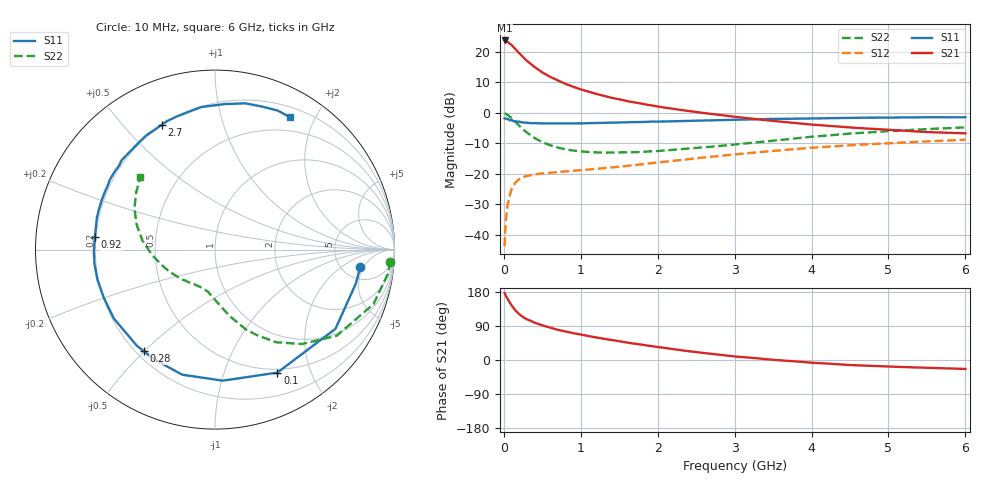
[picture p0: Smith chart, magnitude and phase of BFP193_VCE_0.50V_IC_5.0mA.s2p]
! Infineon Technologies  Discrete & RF Semiconductors
! BFP193
! VCE = 0.50V,  IC =  5.0 mA
! Common Emitter S-Parameters:  Jan 2016
# GHz  S  MA  R  50
!  f  S11  S21  S12  S22
! GHz  MAG  ANG  MAG  ANG  MAG  ANG  MAG  ANG
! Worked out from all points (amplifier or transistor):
!   210 points, 10 MHz to 6 GHz, reference 50 ohm
!   highest |S21| = 23.8 dB at 10 MHz (marker M1)
!   |S21| within 3 dB of that: start of sweep to 156.7 MHz
!   unconditionally stable (mu >= 1): 1.167 GHz to end of sweep
!   at 185 MHz: K = 0.22, MSG = 21.1 dB, |S12| = -22.1 dB
!   at 1.52 GHz: K = 1.12, MAG = 8.8 dB, |S12| = -17.6 dB
!   at 6 GHz: K = 1.02, MAG = 0.1 dB, |S12| = -8.8 dB
!   S11 on the Smith chart (normalised r, x): 10 MHz: 7.23, -4.27; 100 MHz: 0.46, -1.53; 280 MHz: 0.23, -0.50; 920 MHz: 0.20, +0.05; 2.7 GHz: 0.20, +0.64; 6 GHz: 0.32, +1.68
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0.01  0.8146 -7.0  15.47 176.9  0.0065 86.9  0.9792 -3.9
0.02  0.8074 -13.5  15.13 171.7  0.0131 80.7  0.9736 -7.8
0.05  0.8033 -33.3  14.7 160.6  0.0314 73.0  0.9337 -19.0
0.1  0.7684 -63.1  13.08 144.2  0.0557 59.2  0.8304 -35.3
0.15  0.7315 -86.6  11.18 130.6  0.0721 48.8  0.7159 -47.3
0.2  0.7206 -104.7  9.632 120.9  0.0819 41.7  0.6192 -56.5
0.24  0.7 -115.8  8.489 114.9  0.0866 37.3  0.5509 -62.0
0.28  0.691 -124.9  7.579 109.8  0.0906 34.5  0.4991 -66.6
0.3  0.6903 -129.1  7.167 107.3  0.0925 33.4  0.4761 -68.9
0.4  0.6819 -145.8  5.676 98.3  0.098 29.2  0.3877 -76.6
0.5  0.6751 -156.7  4.623 91.2  0.1015 27.1  0.3311 -82.6
0.6  0.676 -165.6  3.919 85.2  0.1042 26.0  0.2944 -87.5
0.7  0.6763 -173.3  3.411 79.7  0.1065 25.7  0.2697 -91.7
0.92  0.6735 174.2  2.634 70.3  0.1131 26.3  0.2393 -99.2
1.02  0.6753 169.1  2.392 66.3  0.1154 26.8  0.2324 -102.5
1.4  0.6922 153.2  1.771 52.8  0.1271 29.2  0.2239 -114.4
2.02  0.7212 132.4  1.262 33.8  0.1549 32.2  0.2377 -132.9
2.7  0.7562 113.1  0.962 16.3  0.191 31.3  0.2784 -153.2
3.1  0.7753 103.7  0.838 7.8  0.2142 29.2  0.3114 -164.8
4.1  0.8153 84.6  0.63 -8.2  0.2732 21.2  0.4156 170.8
5.1  0.8404 70.5  0.52 -18.1  0.323 11.0  0.5108 151.1
6  0.8481 60.3  0.462 -23.6  0.3628 1.1  0.5798 135.8
